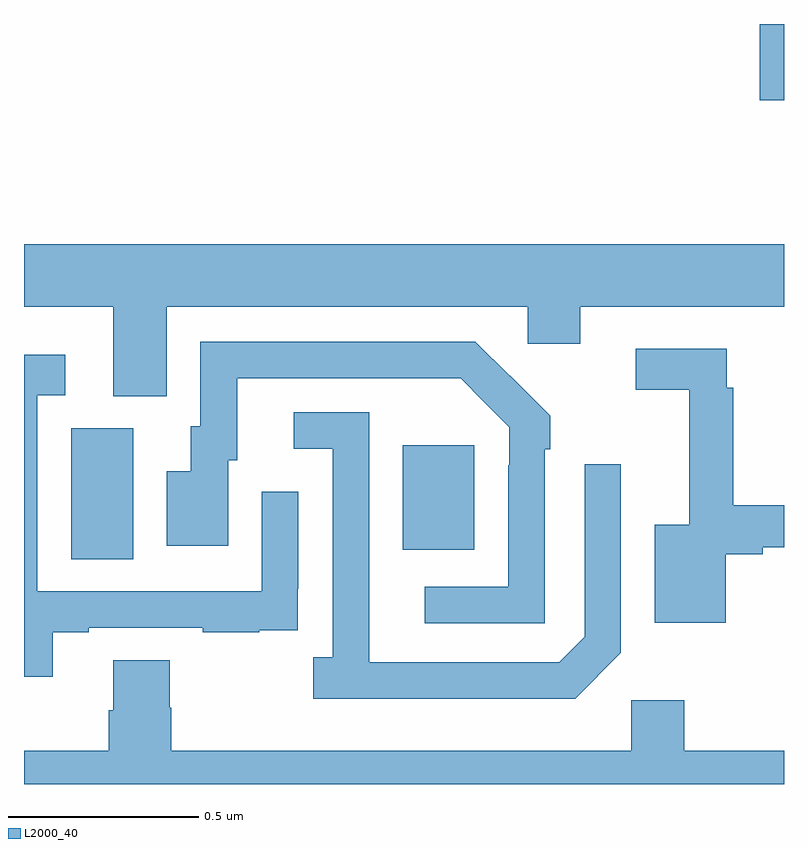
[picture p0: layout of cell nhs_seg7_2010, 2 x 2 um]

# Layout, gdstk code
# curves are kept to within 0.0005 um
import gdstk
lib = gdstk.Library(unit=1e-6, precision=1e-09)
def R(c, l, rs):  # rectangles x0, y0, x1, y1
    for r in rs: c.add(gdstk.rectangle(r[:2], r[2:], *l))
def P(c, l, *ps):  # polygons
    for p in ps: c.add(gdstk.Polygon(p, *l))
L2000_40 = (2000, 40)

nhs_seg7_2010 = lib.new_cell('nhs_seg7_2010')
R(nhs_seg7_2010, L2000_40, [(139.124,1026.592,139.288,1026.936), (139.997,1026.617,140.185,1026.892), (140.936,1027.799,141,1028)])
P(nhs_seg7_2010, L2000_40, [(139.375,1027.256),(140.325,1027.256),(140.325,1027.158),(140.464,1027.158),(140.464,1027.256),(141,1027.256),(141,1027.42),(139,1027.42),(139,1027.256),(139.235,1027.256),(139.235,1027.021),(139.375,1027.021)],
  [(140.37,1026.881),(140.385,1026.881),(140.385,1026.969),(140.28,1027.074),(140.279,1027.073),(140.188,1027.164),(139.464,1027.164),(139.464,1026.942),(139.439,1026.942),(139.439,1026.823),(139.376,1026.823),(139.376,1026.627),(139.537,1026.627),(139.537,1026.852),(139.561,1026.852),(139.561,1027.068),(140.149,1027.068),(140.277,1026.939),(140.277,1026.839),(140.274,1026.839),(140.274,1026.519),(140.055,1026.519),(140.055,1026.423),(140.37,1026.423)],
  [(140.847,1026.604),(140.944,1026.604),(140.944,1026.623),(141,1026.623),(141,1026.733),(140.867,1026.733),(140.867,1027.043),(140.849,1027.043),(140.849,1027.146),(140.61,1027.146),(140.61,1027.038),(140.75,1027.038),(140.75,1026.682),(140.66,1026.682),(140.66,1026.425),(140.847,1026.425)],
  [(139.075,1026.399),(139.171,1026.399),(139.171,1026.411),(139.471,1026.411),(139.471,1026.399),(139.619,1026.399),(139.619,1026.405),(139.721,1026.405),(139.721,1026.514),(139.722,1026.514),(139.722,1026.769),(139.626,1026.769),(139.626,1026.507),(139.035,1026.507),(139.035,1027.023),(139.108,1027.023),(139.108,1027.129),(139,1027.129),(139,1026.282),(139.075,1026.282)],
  [(140.571,1026.345),(140.571,1026.841),(140.475,1026.841),(140.475,1026.387),(140.409,1026.321),(139.909,1026.321),(139.909,1026.521),(139.908,1026.521),(139.908,1026.978),(139.71,1026.978),(139.71,1026.882),(139.812,1026.882),(139.812,1026.334),(139.761,1026.334),(139.761,1026.224),(140.45,1026.224)],
  [(141,1026.088),(140.737,1026.088),(140.737,1026.22),(140.598,1026.22),(140.598,1026.088),(139.388,1026.088),(139.388,1026.201),(139.383,1026.201),(139.383,1026.326),(139.235,1026.326),(139.235,1026.194),(139.223,1026.194),(139.223,1026.088),(139,1026.088),(139,1026),(141,1026)])

lib.write_gds('nhs_seg7_2010.gds')
